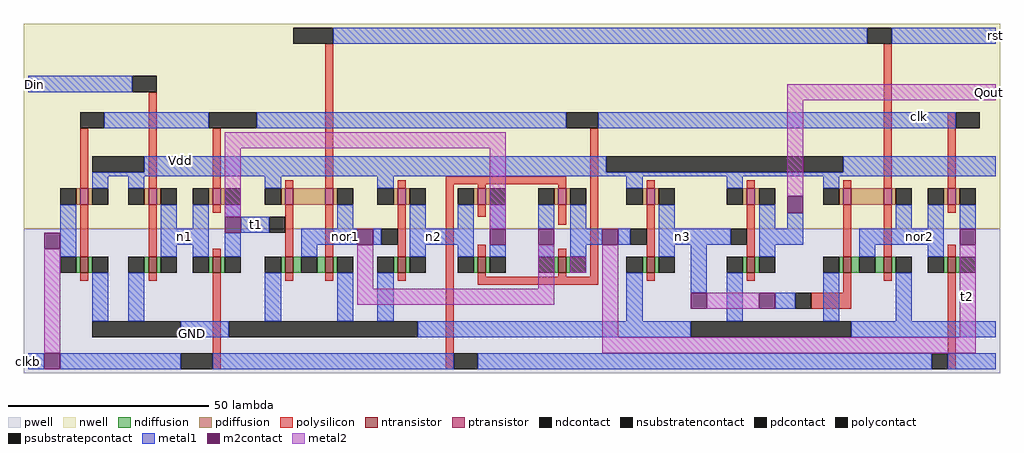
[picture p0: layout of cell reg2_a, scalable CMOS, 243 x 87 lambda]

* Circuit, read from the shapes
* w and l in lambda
.subckt reg2_a Din GND Qout Vdd clk clkb n1 n2 n3 nor1 nor2 rst t1 t2
M1 GND clk clkb GND nfet w=4 l=2
M2 n1 Din GND GND nfet w=4 l=2
M3 t1 clkb n1 GND nfet w=4 l=2
M4 nor1 t1 GND GND nfet w=4 l=2
M5 GND rst nor1 GND nfet w=4 l=2
M6 n2 nor1 GND GND nfet w=4 l=2
M7 t1 clk n2 GND nfet w=4 l=2
M8 t2 clk nor1 GND nfet w=4 l=2
M9 n3 t2 GND GND nfet w=4 l=2
M10 Qout n3 GND GND nfet w=4 l=2
M11 nor2 n3 GND GND nfet w=4 l=2
M12 GND rst nor2 GND nfet w=4 l=2
M13 n4 clkb nor2 GND nfet w=4 l=2
M14 Vdd clk clkb Vdd pfet w=4 l=2
M15 n1 Din Vdd Vdd pfet w=4 l=2
M16 t1 clk n1 Vdd pfet w=4 l=2
M17 n5 t1 Vdd Vdd pfet w=4 l=2
M18 nor1 rst n5 Vdd pfet w=4 l=2
M19 n2 nor1 Vdd Vdd pfet w=4 l=2
M20 t1 clkb n2 Vdd pfet w=4 l=2
M21 t2 clkb nor1 Vdd pfet w=4 l=2
M22 n3 t2 Vdd Vdd pfet w=4 l=2
M23 Qout n3 Vdd Vdd pfet w=4 l=2
M24 n6 n3 Vdd Vdd pfet w=4 l=2
M25 nor2 rst n6 Vdd pfet w=4 l=2
M26 t2 clk nor2 Vdd pfet w=4 l=2
.ends

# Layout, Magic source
magic
tech scmos
<< pwell >>
rect 56 91 299 127
<< nwell >>
rect 56 127 299 178
<< polysilicon >>
rect 70 137 72 152
rect 87 137 89 161
rect 103 137 105 152
rect 121 137 123 139
rect 131 137 133 173
rect 149 137 151 139
rect 161 138 191 140
rect 70 120 72 133
rect 87 120 89 133
rect 103 131 105 133
rect 103 120 105 122
rect 121 120 123 133
rect 131 120 133 133
rect 149 120 151 133
rect 70 114 72 116
rect 87 114 89 116
rect 103 92 105 116
rect 121 114 123 116
rect 131 114 133 116
rect 149 114 151 116
rect 161 92 163 138
rect 169 137 171 138
rect 189 137 191 138
rect 169 130 171 133
rect 189 128 191 133
rect 169 120 171 123
rect 189 120 191 122
rect 169 115 171 116
rect 189 115 191 116
rect 197 115 199 152
rect 211 137 213 139
rect 236 137 238 139
rect 260 137 262 139
rect 270 137 272 173
rect 286 137 288 156
rect 211 120 213 133
rect 236 120 238 133
rect 260 120 262 133
rect 270 120 272 133
rect 286 131 288 133
rect 286 120 288 123
rect 169 113 199 115
rect 211 114 213 116
rect 236 114 238 116
rect 260 111 262 116
rect 270 114 272 116
rect 252 107 262 111
rect 286 92 288 116
<< ndiffusion >>
rect 69 116 70 120
rect 72 116 73 120
rect 86 116 87 120
rect 89 116 90 120
rect 102 116 103 120
rect 105 116 106 120
rect 120 116 121 120
rect 123 116 125 120
rect 129 116 131 120
rect 133 116 134 120
rect 148 116 149 120
rect 151 116 152 120
rect 168 116 169 120
rect 171 116 172 120
rect 188 116 189 120
rect 191 116 192 120
rect 210 116 211 120
rect 213 116 214 120
rect 235 116 236 120
rect 238 116 239 120
rect 259 116 260 120
rect 262 116 264 120
rect 268 116 270 120
rect 272 116 273 120
rect 285 116 286 120
rect 288 116 289 120
<< pdiffusion >>
rect 69 133 70 137
rect 72 133 73 137
rect 86 133 87 137
rect 89 133 90 137
rect 102 133 103 137
rect 105 133 106 137
rect 120 133 121 137
rect 123 133 131 137
rect 133 133 134 137
rect 148 133 149 137
rect 151 133 152 137
rect 168 133 169 137
rect 171 133 172 137
rect 188 133 189 137
rect 191 133 192 137
rect 210 133 211 137
rect 213 133 214 137
rect 235 133 236 137
rect 238 133 239 137
rect 259 133 260 137
rect 262 133 270 137
rect 272 133 273 137
rect 285 133 286 137
rect 288 133 289 137
<< metal1 >>
rect 133 173 266 177
rect 272 173 298 177
rect 57 161 83 165
rect 76 152 102 156
rect 114 152 191 156
rect 199 152 288 156
rect 86 141 201 145
rect 260 141 298 145
rect 73 140 298 141
rect 73 137 77 140
rect 82 137 86 140
rect 116 137 120 140
rect 144 137 148 140
rect 206 137 210 140
rect 231 137 235 140
rect 255 137 259 140
rect 65 120 69 133
rect 90 127 94 133
rect 98 127 102 133
rect 90 123 102 127
rect 90 120 94 123
rect 73 104 77 116
rect 98 120 102 123
rect 106 130 110 133
rect 110 126 117 130
rect 134 127 138 133
rect 152 127 156 133
rect 164 127 168 133
rect 106 120 110 126
rect 125 123 139 127
rect 143 123 145 127
rect 152 123 168 127
rect 125 120 129 123
rect 152 120 156 123
rect 82 104 86 116
rect 116 104 120 116
rect 134 104 138 116
rect 164 120 168 123
rect 172 127 176 133
rect 172 120 176 123
rect 184 127 188 133
rect 184 120 188 123
rect 192 127 196 133
rect 214 127 218 133
rect 239 127 243 133
rect 246 127 250 131
rect 273 127 277 133
rect 281 127 285 133
rect 192 123 200 127
rect 204 123 207 127
rect 214 123 232 127
rect 239 123 250 127
rect 264 123 285 127
rect 289 127 293 133
rect 192 120 196 123
rect 214 120 218 123
rect 144 104 148 116
rect 206 104 210 116
rect 222 111 226 123
rect 239 120 243 123
rect 264 120 268 123
rect 281 120 285 123
rect 231 104 235 116
rect 243 107 248 111
rect 255 104 259 116
rect 273 104 277 116
rect 95 100 107 104
rect 154 100 222 104
rect 262 100 298 104
rect 57 92 61 96
rect 65 92 95 96
rect 103 92 163 96
rect 169 92 282 96
rect 286 92 298 96
<< metal2 >>
rect 246 159 298 163
rect 106 147 176 151
rect 106 130 110 147
rect 172 127 176 147
rect 246 135 250 159
rect 61 96 65 122
rect 139 112 143 123
rect 184 112 188 123
rect 192 116 196 120
rect 139 108 188 112
rect 200 100 204 123
rect 226 107 239 111
rect 289 100 293 123
rect 200 96 293 100
<< ntransistor >>
rect 70 116 72 120
rect 87 116 89 120
rect 103 116 105 120
rect 121 116 123 120
rect 131 116 133 120
rect 149 116 151 120
rect 169 116 171 120
rect 189 116 191 120
rect 211 116 213 120
rect 236 116 238 120
rect 260 116 262 120
rect 270 116 272 120
rect 286 116 288 120
<< ptransistor >>
rect 70 133 72 137
rect 87 133 89 137
rect 103 133 105 137
rect 121 133 123 137
rect 131 133 133 137
rect 149 133 151 137
rect 169 133 171 137
rect 189 133 191 137
rect 211 133 213 137
rect 236 133 238 137
rect 260 133 262 137
rect 270 133 272 137
rect 286 133 288 137
<< polycontact >>
rect 123 173 133 177
rect 266 173 272 177
rect 83 161 89 165
rect 70 152 76 156
rect 102 152 114 156
rect 191 152 199 156
rect 117 126 121 130
rect 145 123 149 127
rect 95 92 103 96
rect 288 152 294 156
rect 207 123 211 127
rect 232 123 236 127
rect 248 107 252 111
rect 163 92 169 96
rect 282 92 286 96
<< ndcontact >>
rect 65 116 69 120
rect 73 116 77 120
rect 82 116 86 120
rect 90 116 94 120
rect 98 116 102 120
rect 106 116 110 120
rect 116 116 120 120
rect 125 116 129 120
rect 134 116 138 120
rect 144 116 148 120
rect 152 116 156 120
rect 164 116 168 120
rect 172 116 176 120
rect 184 116 188 120
rect 192 116 196 120
rect 206 116 210 120
rect 214 116 218 120
rect 231 116 235 120
rect 239 116 243 120
rect 255 116 259 120
rect 264 116 268 120
rect 273 116 277 120
rect 281 116 285 120
rect 289 116 293 120
<< pdcontact >>
rect 65 133 69 137
rect 73 133 77 137
rect 82 133 86 137
rect 90 133 94 137
rect 98 133 102 137
rect 106 133 110 137
rect 116 133 120 137
rect 134 133 138 137
rect 144 133 148 137
rect 152 133 156 137
rect 164 133 168 137
rect 172 133 176 137
rect 184 133 188 137
rect 192 133 196 137
rect 206 133 210 137
rect 214 133 218 137
rect 231 133 235 137
rect 239 133 243 137
rect 255 133 259 137
rect 273 133 277 137
rect 281 133 285 137
rect 289 133 293 137
<< m2contact >>
rect 61 122 65 126
rect 106 126 110 130
rect 139 123 143 127
rect 172 123 176 127
rect 184 123 188 127
rect 246 131 250 135
rect 200 123 204 127
rect 289 123 293 127
rect 222 107 226 111
rect 239 107 243 111
rect 61 92 65 96
<< psubstratepcontact >>
rect 73 100 95 104
rect 107 100 154 104
rect 222 100 262 104
<< nsubstratencontact >>
rect 73 141 86 145
rect 201 141 260 145
<< labels >>
rlabel metal1 57 94 57 94 7 clkb
rlabel metal1 98 101 98 101 1 GND
rlabel metal1 95 144 95 144 5 Vdd
rlabel metal1 279 155 279 155 5 clk
rlabel metal1 298 175 298 175 3 rst
rlabel metal1 94 123 98 127 1 n1
rlabel metal1 112 126 116 130 5 t1
rlabel metal1 134 123 138 127 5 nor1
rlabel metal1 156 123 160 127 1 n2
rlabel metal2 289 108 293 112 3 t2
rlabel metal1 277 123 281 127 5 nor2
rlabel metal1 218 123 222 127 5 n3
rlabel metal2 295 159 298 163 3 Qout
rlabel metal1 57 161 60 165 7 Din
<< end >>
